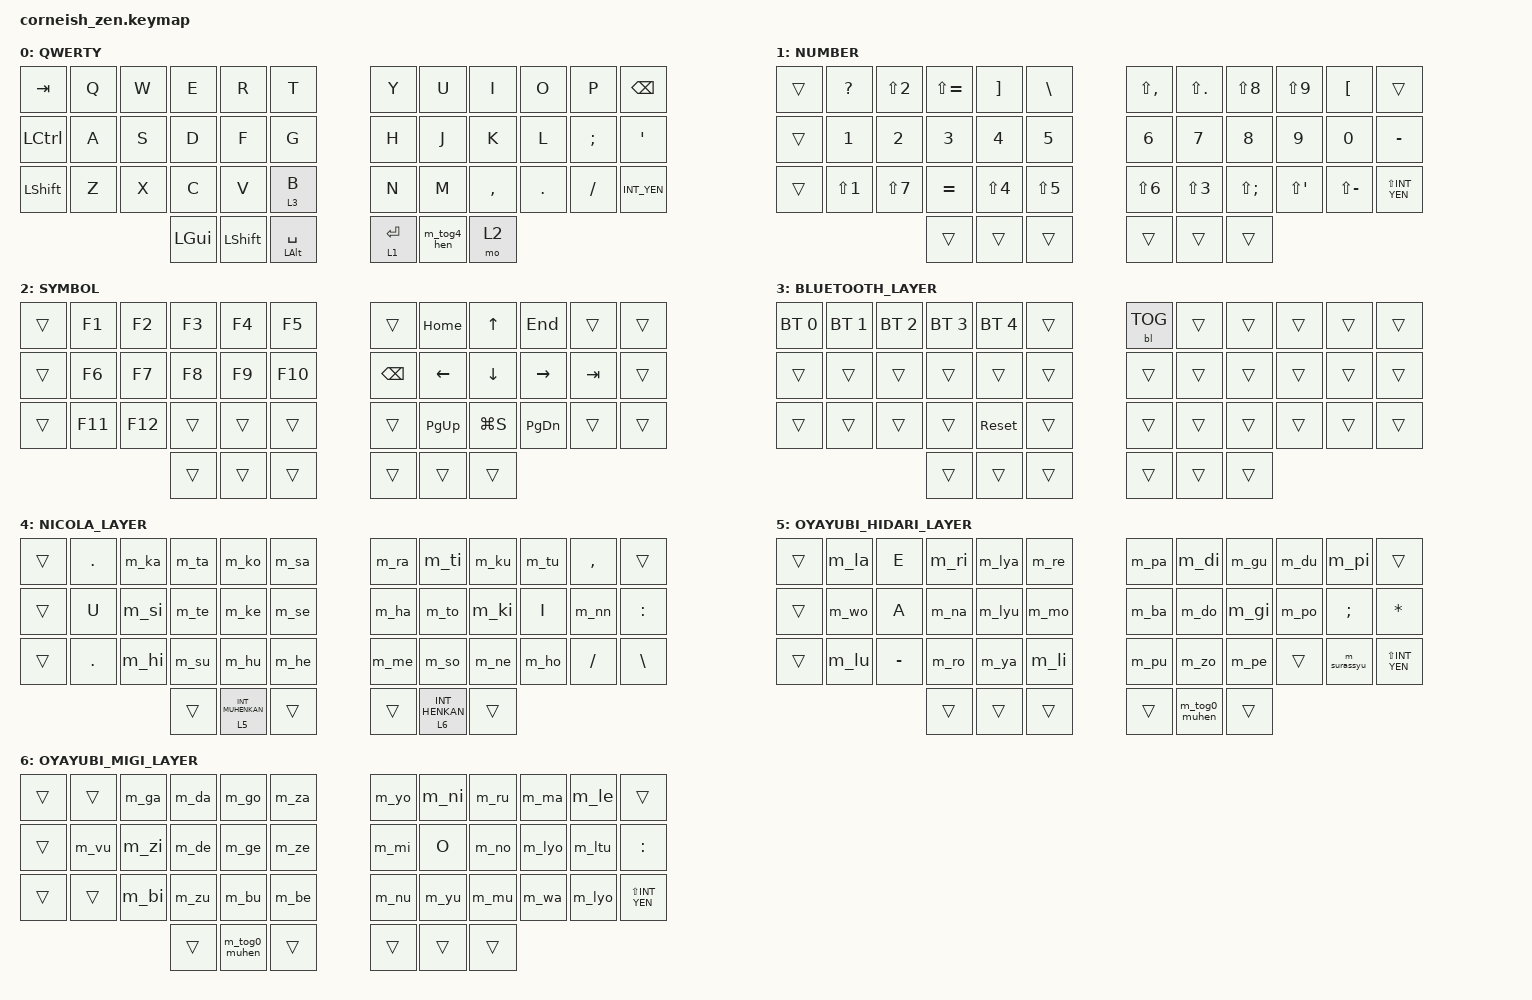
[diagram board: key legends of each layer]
#include <behaviors.dtsi>
#include <dt-bindings/zmk/backlight.h>
#include <dt-bindings/zmk/bt.h>
#include <dt-bindings/zmk/keys.h>

/ {
    chosen {
        zmk,physical-layout = &foostan_corne_6col_layout;

        // zmk,physical-layout = &foostan_corne_5col_layout;
    };
};

/ {
    macros {
        m_ka: ka {
            compatible = "zmk,behavior-macro";
            #binding-cells = <0>;
            bindings = <&kp K &kp A>;
            label = "KA";
        };

        m_ki: ki {
            compatible = "zmk,behavior-macro";
            #binding-cells = <0>;
            bindings = <&kp K &kp I>;
            label = "KI";
        };

        m_ku: ku {
            compatible = "zmk,behavior-macro";
            #binding-cells = <0>;
            bindings = <&kp K &kp U>;
            label = "KU";
        };

        m_ke: ke {
            compatible = "zmk,behavior-macro";
            #binding-cells = <0>;
            bindings = <&kp K &kp E>;
            label = "KE";
        };

        m_ko: ko {
            compatible = "zmk,behavior-macro";
            #binding-cells = <0>;
            bindings = <&kp K &kp O>;
            label = "KO";
        };

        m_ga: ga {
            compatible = "zmk,behavior-macro";
            #binding-cells = <0>;
            bindings = <&kp G &kp A>;
            label = "GA";
        };

        m_gi: gi {
            compatible = "zmk,behavior-macro";
            #binding-cells = <0>;
            bindings = <&kp G &kp I>;
            label = "GI";
        };

        m_gu: gu {
            compatible = "zmk,behavior-macro";
            #binding-cells = <0>;
            bindings = <&kp G &kp U>;
            label = "GU";
        };

        m_ge: ge {
            compatible = "zmk,behavior-macro";
            #binding-cells = <0>;
            bindings = <&kp G &kp E>;
            label = "GE";
        };

        m_go: go {
            compatible = "zmk,behavior-macro";
            #binding-cells = <0>;
            bindings = <&kp G &kp O>;
            label = "GO";
        };

        m_sa: sa {
            compatible = "zmk,behavior-macro";
            #binding-cells = <0>;
            bindings = <&kp S &kp A>;
            label = "SA";
        };

        m_si: si {
            compatible = "zmk,behavior-macro";
            #binding-cells = <0>;
            bindings = <&kp S &kp I>;
            label = "SI";
        };

        m_su: su {
            compatible = "zmk,behavior-macro";
            #binding-cells = <0>;
            bindings = <&kp S &kp U>;
            label = "SU";
        };

        m_se: se {
            compatible = "zmk,behavior-macro";
            #binding-cells = <0>;
            bindings = <&kp S &kp E>;
            label = "SE";
        };

        m_so: so {
            compatible = "zmk,behavior-macro";
            #binding-cells = <0>;
            bindings = <&kp S &kp O>;
            label = "SO";
        };

        m_za: za {
            compatible = "zmk,behavior-macro";
            #binding-cells = <0>;
            bindings = <&kp Z &kp A>;
            label = "ZA";
        };

        m_zi: zi {
            compatible = "zmk,behavior-macro";
            #binding-cells = <0>;
            bindings = <&kp Z &kp I>;
            label = "ZI";
        };

        m_zu: zu {
            compatible = "zmk,behavior-macro";
            #binding-cells = <0>;
            bindings = <&kp Z &kp U>;
            label = "ZU";
        };

        m_ze: ze {
            compatible = "zmk,behavior-macro";
            #binding-cells = <0>;
            bindings = <&kp Z &kp E>;
            label = "ZE";
        };

        m_zo: zo {
            compatible = "zmk,behavior-macro";
            #binding-cells = <0>;
            bindings = <&kp Z &kp O>;
            label = "ZO";
        };

        m_ta: ta {
            compatible = "zmk,behavior-macro";
            #binding-cells = <0>;
            bindings = <&kp T &kp A>;
            label = "TA";
        };

        m_ti: ti {
            compatible = "zmk,behavior-macro";
            #binding-cells = <0>;
            bindings = <&kp T &kp I>;
            label = "TI";
        };

        m_tu: tu {
            compatible = "zmk,behavior-macro";
            #binding-cells = <0>;
            bindings = <&kp T &kp U>;
            label = "TU";
        };

        m_te: te {
            compatible = "zmk,behavior-macro";
            #binding-cells = <0>;
            bindings = <&kp T &kp E>;
            label = "TE";
        };

        m_to: to {
            compatible = "zmk,behavior-macro";
            #binding-cells = <0>;
            bindings = <&kp T &kp O>;
            label = "TO";
        };

        m_da: da {
            compatible = "zmk,behavior-macro";
            #binding-cells = <0>;
            bindings = <&kp D &kp A>;
            label = "DA";
        };

        m_di: di {
            compatible = "zmk,behavior-macro";
            #binding-cells = <0>;
            bindings = <&kp D &kp I>;
            label = "DI";
        };

        m_du: du {
            compatible = "zmk,behavior-macro";
            #binding-cells = <0>;
            bindings = <&kp D &kp U>;
            label = "DU";
        };

        m_de: de {
            compatible = "zmk,behavior-macro";
            #binding-cells = <0>;
            bindings = <&kp D &kp E>;
            label = "DE";
        };

        m_do: do {
            compatible = "zmk,behavior-macro";
            #binding-cells = <0>;
            bindings = <&kp D &kp O>;
            label = "DO";
        };

        m_na: na {
            compatible = "zmk,behavior-macro";
            #binding-cells = <0>;
            bindings = <&kp N &kp A>;
            label = "NA";
        };

        m_ni: ni {
            compatible = "zmk,behavior-macro";
            #binding-cells = <0>;
            bindings = <&kp N &kp I>;
            label = "NI";
        };

        m_nu: nu {
            compatible = "zmk,behavior-macro";
            #binding-cells = <0>;
            bindings = <&kp N &kp U>;
            label = "NU";
        };

        m_ne: ne {
            compatible = "zmk,behavior-macro";
            #binding-cells = <0>;
            bindings = <&kp N &kp O>;
            label = "NE";
        };

        m_ha: ha {
            compatible = "zmk,behavior-macro";
            #binding-cells = <0>;
            bindings = <&kp H &kp A>;
            label = "HA";
        };

        m_hi: hi {
            compatible = "zmk,behavior-macro";
            #binding-cells = <0>;
            bindings = <&kp H &kp I>;
            label = "HI";
        };

        m_hu: hu {
            compatible = "zmk,behavior-macro";
            #binding-cells = <0>;
            bindings = <&kp H &kp U>;
            label = "HU";
        };

        m_he: he {
            compatible = "zmk,behavior-macro";
            #binding-cells = <0>;
            bindings = <&kp H &kp E>;
            label = "HE";
        };

        m_ho: ho {
            compatible = "zmk,behavior-macro";
            #binding-cells = <0>;
            bindings = <&kp H &kp O>;
            label = "HO";
        };

        m_ba: ba {
            compatible = "zmk,behavior-macro";
            #binding-cells = <0>;
            bindings = <&kp B &kp A>;
            label = "BA";
        };

        m_bi: bi {
            compatible = "zmk,behavior-macro";
            #binding-cells = <0>;
            bindings = <&kp B &kp I>;
            label = "BI";
        };

        m_bu: bu {
            compatible = "zmk,behavior-macro";
            #binding-cells = <0>;
            bindings = <&kp B &kp U>;
            label = "BU";
        };

        m_be: be {
            compatible = "zmk,behavior-macro";
            #binding-cells = <0>;
            bindings = <&kp B &kp E>;
            label = "BE";
        };

        m_bo: bo {
            compatible = "zmk,behavior-macro";
            #binding-cells = <0>;
            bindings = <&kp B &kp O>;
            label = "BO";
        };

        m_pa: pa {
            compatible = "zmk,behavior-macro";
            #binding-cells = <0>;
            bindings = <&kp P &kp A>;
            label = "PA";
        };

        m_pi: pi {
            compatible = "zmk,behavior-macro";
            #binding-cells = <0>;
            bindings = <&kp P &kp I>;
            label = "PI";
        };

        m_pu: pu {
            compatible = "zmk,behavior-macro";
            #binding-cells = <0>;
            bindings = <&kp P &kp E>;
            label = "PU";
        };

        m_po: po {
            compatible = "zmk,behavior-macro";
            #binding-cells = <0>;
            bindings = <&kp P &kp O>;
            label = "PO";
        };

        m_ma: ma {
            compatible = "zmk,behavior-macro";
            #binding-cells = <0>;
            bindings = <&kp M &kp A>;
            label = "MA";
        };

        m_mi: mi {
            compatible = "zmk,behavior-macro";
            #binding-cells = <0>;
            bindings = <&kp M &kp I>;
            label = "MI";
        };

        m_mu: mu {
            compatible = "zmk,behavior-macro";
            #binding-cells = <0>;
            bindings = <&kp M &kp U>;
            label = "MU";
        };

        m_me: me {
            compatible = "zmk,behavior-macro";
            #binding-cells = <0>;
            bindings = <&kp M &kp E>;
            label = "ME";
        };

        m_mo: mo {
            compatible = "zmk,behavior-macro";
            #binding-cells = <0>;
            bindings = <&kp M &kp O>;
            label = "MO";
        };

        m_ya: ya {
            compatible = "zmk,behavior-macro";
            #binding-cells = <0>;
            bindings = <&kp Y &kp A>;
            label = "YA";
        };

        m_yu: yu {
            compatible = "zmk,behavior-macro";
            #binding-cells = <0>;
            bindings = <&kp Y &kp U>;
            label = "YU";
        };

        m_yo: yo {
            compatible = "zmk,behavior-macro";
            #binding-cells = <0>;
            bindings = <&kp Y &kp O>;
            label = "YO";
        };

        m_lya: lya {
            compatible = "zmk,behavior-macro";
            #binding-cells = <0>;
            bindings = <&kp L &kp Y &kp A>;
            label = "LYA";
        };

        m_lyu: lyu {
            compatible = "zmk,behavior-macro";
            #binding-cells = <0>;
            bindings = <&kp L &kp Y &kp U>;
            label = "LYU";
        };

        m_lyo: lyo {
            compatible = "zmk,behavior-macro";
            #binding-cells = <0>;
            bindings = <&kp L &kp Y &kp O>;
            label = "LYO";
        };

        m_ra: ra {
            compatible = "zmk,behavior-macro";
            #binding-cells = <0>;
            bindings = <&kp R &kp A>;
            label = "RA";
        };

        m_ri: ri {
            compatible = "zmk,behavior-macro";
            #binding-cells = <0>;
            bindings = <&kp R &kp I>;
            label = "RI";
        };

        m_ru: ru {
            compatible = "zmk,behavior-macro";
            #binding-cells = <0>;
            bindings = <&kp R &kp U>;
            label = "RU";
        };

        m_re: re {
            compatible = "zmk,behavior-macro";
            #binding-cells = <0>;
            bindings = <&kp R &kp E>;
            label = "RE";
        };

        m_ro: ro {
            compatible = "zmk,behavior-macro";
            #binding-cells = <0>;
            bindings = <&kp R &kp O>;
            label = "RO";
        };

        m_wa: wa {
            compatible = "zmk,behavior-macro";
            #binding-cells = <0>;
            bindings = <&kp W &kp A>;
            label = "WA";
        };

        m_wi: wi {
            compatible = "zmk,behavior-macro";
            #binding-cells = <0>;
            bindings = <&kp W &kp I>;
            label = "WI";
        };

        m_we: we {
            compatible = "zmk,behavior-macro";
            #binding-cells = <0>;
            bindings = <&kp W &kp E>;
            label = "WE";
        };

        m_wo: wo {
            compatible = "zmk,behavior-macro";
            #binding-cells = <0>;
            bindings = <&kp W &kp O>;
            label = "WO";
        };

        m_nn: nn {
            compatible = "zmk,behavior-macro";
            #binding-cells = <0>;
            bindings = <&kp N &kp N>;
            label = "NN";
        };

        m_vu: vu {
            compatible = "zmk,behavior-macro";
            #binding-cells = <0>;
            bindings = <&kp V &kp U>;
            label = "VU";
        };

        m_la: la {
            compatible = "zmk,behavior-macro";
            #binding-cells = <0>;
            bindings = <&kp L &kp A>;
            label = "LA";
        };

        m_li: li {
            compatible = "zmk,behavior-macro";
            #binding-cells = <0>;
            bindings = <&kp L &kp I>;
            label = "LI";
        };

        m_lu: lu {
            compatible = "zmk,behavior-macro";
            #binding-cells = <0>;
            bindings = <&kp L &kp U>;
            label = "LU";
        };

        m_le: le {
            compatible = "zmk,behavior-macro";
            #binding-cells = <0>;
            bindings = <&kp L &kp E>;
            label = "LE";
        };

        m_lo: lo {
            compatible = "zmk,behavior-macro";
            #binding-cells = <0>;
            bindings = <&kp L &kp O>;
            label = "LO";
        };

        m_tog4_hen: m_tog4_hen {
            compatible = "zmk,behavior-macro";
            #binding-cells = <0>;
            bindings = <&tog 4 &kp INT_HENKAN>;
            label = "M_TOG4_HEN";
        };

        m_pe: m_pe {
            compatible = "zmk,behavior-macro";
            #binding-cells = <0>;
            bindings = <&kp P &kp E>;
            label = "M_PE";
        };

        m_surassyu: m_surassyu {
            compatible = "zmk,behavior-macro";
            #binding-cells = <0>;
            bindings = <&kp S &kp U &kp R &kp A &kp S &kp S &kp Y &kp U>;
            label = "M_SURASSYU";
        };

        m_tog0_muhen: m_tog0_muhen {
            compatible = "zmk,behavior-macro";
            #binding-cells = <0>;
            bindings = <&tog 0 &kp INT_MUHENKAN>;
            label = "M_TOG0_MUHEN";
        };

        m_no: m_no {
            compatible = "zmk,behavior-macro";
            #binding-cells = <0>;
            bindings = <&kp N &kp O>;
            label = "M_NO";
        };

        m_ltu: m_ltu {
            compatible = "zmk,behavior-macro";
            #binding-cells = <0>;
            bindings = <&kp L &kp T &kp U>;
            label = "M_LTU";
        };
    };

    combos {
        compatible = "zmk,combos";

        cb_esc {
            bindings = <&kp ESCAPE>;
            key-positions = <0 1>;
        };

        cb_del {
            bindings = <&kp DELETE>;
            key-positions = <11 10>;
        };

        cb_win_shift_s {
            bindings = <&kp LS(LG(S))>;
            key-positions = <35 34>;
        };

        cb_kana {
            bindings = <&kp INT_KANA>;
            key-positions = <41 40>;
        };
    };

    keymap {
        compatible = "zmk,keymap";

        default_layer {
            display-name = "QWERTY";

            // --------------------------------------------------------------------------------
            // |  TAB |  Q  |  W  |  E  |  R  |  T  |   |  Y  |  U   |  I  |  O  |  P  | BSPC |
            // | CTRL |  A  |  S  |  D  |  F  |  G  |   |  H  |  J   |  K  |  L  |  ;  |  '   |
            // | SHFT |  Z  |  X  |  C  |  V  |  B  |   |  N  |  M   |  ,  |  .  |  /  | ESC  |
            //                    | GUI | LWR | SPC |   | ENT | RSE  | ALT |

            bindings = <
&kp TAB         &kp Q  &kp W  &kp E         &kp R           &kp T                 &kp Y        &kp U        &kp I      &kp O    &kp P     &kp BSPC
&kp LCTRL       &kp A  &kp S  &kp D         &kp F           &kp G                 &kp H        &kp J        &kp K      &kp L    &kp SEMI  &kp SQT
&kp LEFT_SHIFT  &kp Z  &kp X  &kp C         &kp V           &lt 3 B               &kp N        &kp M        &kp COMMA  &kp DOT  &kp FSLH  &kp INT_YEN
                              &kp LEFT_GUI  &kp LEFT_SHIFT  &mt LEFT_ALT SPACE    &lt 1 ENTER  &m_tog4_hen  &mo 2
            >;
        };

        lower_layer {
            display-name = "NUMBER";

            // -----------------------------------------------------------------------------------------
            // |  TAB |  1  |  2  |  3  |  4  |  5  |   |  6  |  7  |  8  |  9  |  0  | BSPC |
            // | BTCLR| BT1 | BT2 | BT3 | BT4 | BT5 |   | LFT | DWN |  UP | RGT |     |Studio|
            // | SHFT |     |     |     |     |     |   |     |     |     |     |     |      |
            //                    | GUI |     | SPC |   | ENT |     | ALT |

            bindings = <
&trans  &kp QUESTION      &kp LS(NUMBER_2)  &kp LS(EQUAL)  &kp RIGHT_BRACKET  &kp BACKSLASH       &kp LS(COMMA)     &kp LS(PERIOD)    &kp LS(N8)         &kp LS(N9)            &kp LEFT_BRACKET  &trans
&trans  &kp NUMBER_1      &kp NUMBER_2      &kp NUMBER_3   &kp NUMBER_4       &kp NUMBER_5        &kp NUMBER_6      &kp NUMBER_7      &kp NUMBER_8       &kp NUMBER_9          &kp NUMBER_0      &kp MINUS
&trans  &kp LS(NUMBER_1)  &kp LS(N7)        &kp EQUAL      &kp LS(NUMBER_4)   &kp LS(NUMBER_5)    &kp LS(NUMBER_6)  &kp LS(NUMBER_3)  &kp LS(SEMICOLON)  &kp LS(SINGLE_QUOTE)  &kp LS(MINUS)     &kp LS(INT_YEN)
                                            &trans         &trans             &trans              &trans            &trans            &trans
            >;
        };

        raise_layer {
            display-name = "SYMBOL";

            // -----------------------------------------------------------------------------------------
            // |  TAB |  !  |  @  |  #  |  $  |  %  |   |  ^  |  &  |  *  |  (  |  )  | BSPC |
            // | CTRL |     |     |     |     |     |   |  -  |  =  |  [  |  ]  |  \  |  `   |
            // | SHFT |     |     |     |     |     |   |  _  |  +  |  {  |  }  | "|" |  ~   |
            //                    | GUI |     | SPC |   | ENT |     | ALT |

            bindings = <
&trans  &kp F1   &kp F2   &kp F3  &kp F4  &kp F5     &trans         &kp HOME     &kp UP_ARROW  &kp END        &trans   &trans
&trans  &kp F6   &kp F7   &kp F8  &kp F9  &kp F10    &kp BACKSPACE  &kp LEFT     &kp DOWN      &kp RIGHT      &kp TAB  &trans
&trans  &kp F11  &kp F12  &trans  &trans  &trans     &trans         &kp PAGE_UP  &kp LG(S)     &kp PAGE_DOWN  &trans   &trans
                          &trans  &trans  &trans     &trans         &trans       &trans
            >;
        };

        BLUETOOTH_LAYER {
            bindings = <
&bt BT_SEL 0  &bt BT_SEL 1  &bt BT_SEL 2  &bt BT_SEL 3  &bt BT_SEL 4  &trans    &bl BL_TOG  &trans  &trans  &trans  &trans  &trans
&trans        &trans        &trans        &trans        &trans        &trans    &trans      &trans  &trans  &trans  &trans  &trans
&trans        &trans        &trans        &trans        &sys_reset    &trans    &trans      &trans  &trans  &trans  &trans  &trans
                                          &trans        &trans        &trans    &trans      &trans  &trans
            >;
        };

        NICOLA_LAYER {
            bindings = <
&trans  &kp PERIOD  &m_ka  &m_ta   &m_ko               &m_sa     &m_ra   &m_ti             &m_ku   &m_tu  &kp COMMA  &trans
&trans  &kp U       &m_si  &m_te   &m_ke               &m_se     &m_ha   &m_to             &m_ki   &kp I  &m_nn      &kp COLON
&trans  &kp PERIOD  &m_hi  &m_su   &m_hu               &m_he     &m_me   &m_so             &m_ne   &m_ho  &kp SLASH  &kp BACKSLASH
                           &trans  &lt 5 INT_MUHENKAN  &trans    &trans  &lt 6 INT_HENKAN  &trans
            >;
        };

        OYAYUBI_HIDARI_LAYER {
            bindings = <
&trans  &m_la  &kp E      &m_ri   &m_lya  &m_re     &m_pa   &m_di          &m_gu   &m_du   &m_pi          &trans
&trans  &m_wo  &kp A      &m_na   &m_lyu  &m_mo     &m_ba   &m_do          &m_gi   &m_po   &kp SEMICOLON  &kp ASTERISK
&trans  &m_lu  &kp MINUS  &m_ro   &m_ya   &m_li     &m_pu   &m_zo          &m_pe   &trans  &m_surassyu    &kp LS(INT_YEN)
                          &trans  &trans  &trans    &trans  &m_tog0_muhen  &trans
            >;
        };

        OYAYUBI_MIGI_LAYER {
            bindings = <
&trans  &trans  &m_ga  &m_da   &m_go          &m_za     &m_yo   &m_ni   &m_ru   &m_ma   &m_le   &trans
&trans  &m_vu   &m_zi  &m_de   &m_ge          &m_ze     &m_mi   &kp O   &m_no   &m_lyo  &m_ltu  &kp COLON
&trans  &trans  &m_bi  &m_zu   &m_bu          &m_be     &m_nu   &m_yu   &m_mu   &m_wa   &m_lyo  &kp LS(INT_YEN)
                       &trans  &m_tog0_muhen  &trans    &trans  &trans  &trans
            >;
        };
    };

    conditional_layers {
        compatible = "zmk,conditional-layers";

        oyayubi_hidari {
            if-layers = <4>;
            then-layer = <5>;
        };

        oyayubi_migi {
            if-layers = <4>;
            then-layer = <6>;
        };
    };
};
